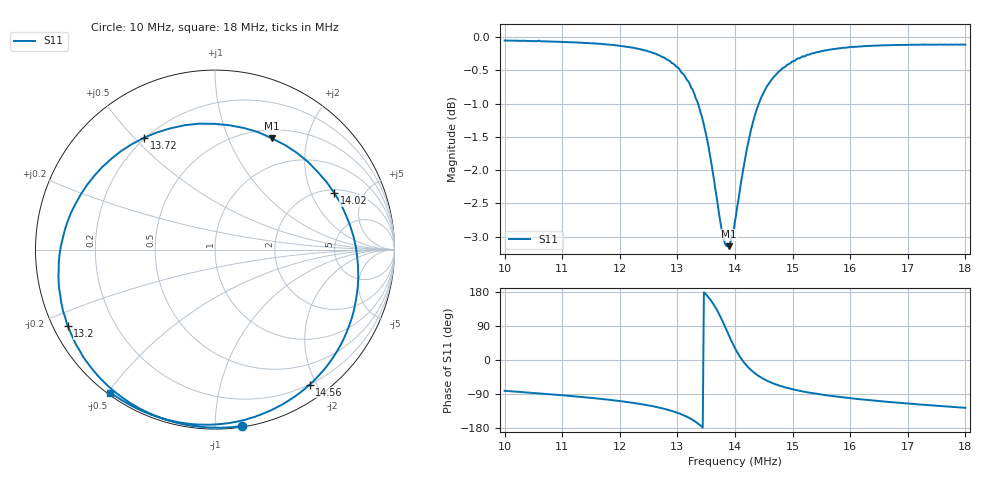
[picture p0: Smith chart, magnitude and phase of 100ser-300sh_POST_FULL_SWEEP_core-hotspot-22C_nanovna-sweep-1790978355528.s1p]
! NanoVNA Web complex sweep
! Processing: original sample grid, no browser smoothing
# Hz S RI R 50
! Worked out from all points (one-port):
!   401 points, 10 MHz to 18 MHz, reference 50 ohm
!   lowest |S11| = -3.1 dB at 13.9 MHz (marker M1), VSWR 5.58, Z = 30.4 + j73 ohm
!   |S11| at or under -10 dB: nowhere
!   S11 on the Smith chart (normalised r, x): 10 MHz: 0.01, -1.16; 13.2 MHz: 0.04, -0.24; 13.72 MHz: 0.20, +0.54; 14.02 MHz: 2.16, +2.97; 14.56 MHz: 0.20, -1.91; 18 MHz: 0.01, -0.51
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1e7  0.1497 -0.9827
1.1e7  -0.0521 -0.9898
1.2e7  -0.3098 -0.9347
1.26e7  -0.5273 -0.8166
1.282e7  -0.628 -0.728
1.3e7  -0.7188 -0.6199
1.32e7  -0.8202 -0.4268
1.336e7  -0.8708 -0.1859
1.35e7  -0.8366 0.1104
1.356e7  -0.7757 0.2573
1.362e7  -0.6723 0.4117
1.372e7  -0.3932 0.6244
1.378e7  -0.1695 0.693
1.382e7  -0.00198 0.7006
1.39e7  0.3184 0.6191
1.4e7  0.6233 0.3745
1.402e7  0.6644 0.3154
1.408e7  0.7533 0.132
1.414e7  0.7926 -0.0438
1.428e7  0.7618 -0.3824
1.442e7  0.6517 -0.6101
1.456e7  0.5281 -0.7521
1.476e7  0.3681 -0.8669
1.5e7  0.2122 -0.9346
1.544e7  0.00239 -0.9744
1.6e7  -0.1831 -0.9658
1.7e7  -0.4152 -0.8949
1.8e7  -0.5823 -0.7967
